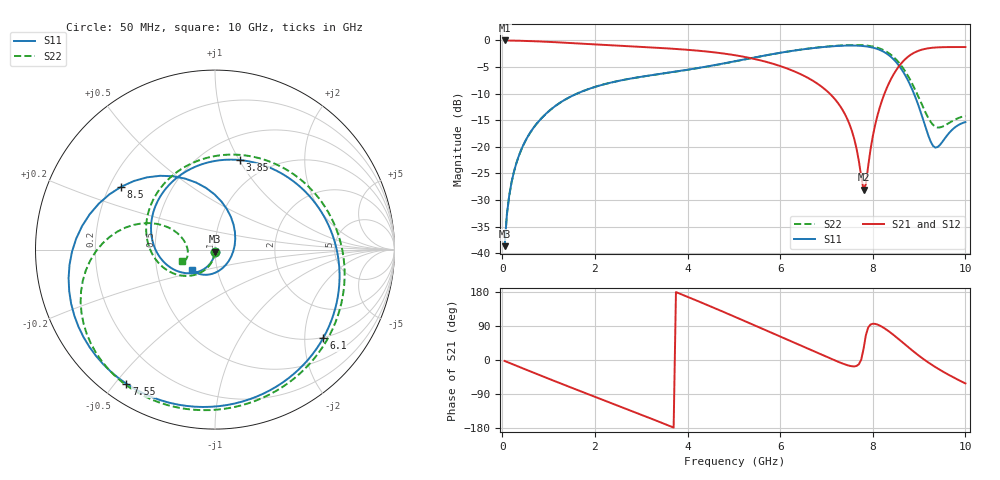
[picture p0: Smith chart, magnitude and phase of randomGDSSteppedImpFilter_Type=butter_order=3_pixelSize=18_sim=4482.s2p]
! freq	dB(S11)	phase(S11)	dB(S12)	phase(S12)
!  dB(S21)	phase(S21)	dB(S22)	phase(S22)
!S-par simulation data
#  GHz  S  DB  R 50
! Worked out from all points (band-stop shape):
!   200 points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, 50 MHz to 10 GHz, reference 50 ohm
!   highest |S21| = 0.00 dB at 50 MHz (marker M1); lowest = -28.0 dB at 7.8 GHz (marker M2)
!   |S21| within 3 dB of the highest: start of sweep to 5.174 GHz; 8.77 GHz to end of sweep
!   lowest |S11| = -38.7 dB at 50 MHz (marker M3), VSWR 1.02, Z = 49.9 - j1.16 ohm
!   |S11| at or under -10 dB: start of sweep to 1.612 GHz; 8.889 GHz to end of sweep
!   |S22| runs from -38.7 to -0.8 dB; largest |S21 - S12| = 0
!   S11 on the Smith chart (normalised r, x): 50 MHz: 1.00, -0.02; 3.85 GHz: 0.74, +1.01; 6.1 GHz: 0.99, -2.47; 7.55 GHz: 0.07, -0.54; 8.5 GHz: 0.25, +0.29; 10 GHz: 0.76, -0.18
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0.05  -38.67 -92.5  -0.00 -2.5  -0.00 -2.5  -38.66 -92.2
0.1  -32.66 -95.3  -0.01 -5.0  -0.01 -5.0  -32.65 -94.7
0.2  -26.66 -100.8  -0.03 -10.0  -0.03 -10.0  -26.66 -99.5
0.5  -18.85 -116.9  -0.09 -24.9  -0.09 -24.9  -18.88 -113.8
1.15  -12.28 -150.7  -0.33 -56.6  -0.33 -56.6  -12.29 -143.8
1.75  -9.50 178.7  -0.62 -85.3  -0.62 -85.3  -9.49 -170.7
2.5  -7.62 141.2  -0.98 -120.6  -0.98 -120.6  -7.63 155.9
3.4  -6.30 96.5  -1.41 -163.6  -1.41 -163.6  -6.31 114.5
3.85  -5.71 74.3  -1.66 174.2  -1.66 174.2  -5.73 92.6
5.05  -3.87 14.7  -2.81 112.5  -2.81 112.5  -3.90 29.4
6.1  -2.18 -39.1  -5.11 56.4  -5.11 56.4  -2.18 -28.6
6.7  -1.45 -71.4  -7.54 24.3  -7.54 24.3  -1.43 -61.4
7.15  -1.08 -97.4  -10.72 0.5  -10.72 0.5  -1.03 -86.2
7.55  -0.96 -123.4  -17.03 -16.5  -17.03 -16.5  -0.85 -109.4
7.8  -1.06 -142.2  -28.05 28.6  -28.05 28.6  -0.91 -125.4
8.05  -1.47 -164.1  -15.93 95.4  -15.93 95.4  -1.24 -143.1
8.35  -2.79 164.3  -8.03 75.4  -8.03 75.4  -2.42 -166.8
8.5  -4.03 146.2  -5.66 61.1  -5.66 61.1  -3.55 -179.0
8.75  -7.34 112.8  -3.14 35.5  -3.14 35.5  -6.51 163.0
9.15  -16.58 41.5  -1.55 -2.4  -1.55 -2.4  -13.74 158.8
9.35  -20.14 -22.9  -1.33 -18.5  -1.33 -18.5  -16.21 176.8
10  -15.35 -137.4  -1.24 -61.8  -1.24 -61.8  -14.18 -160.8
